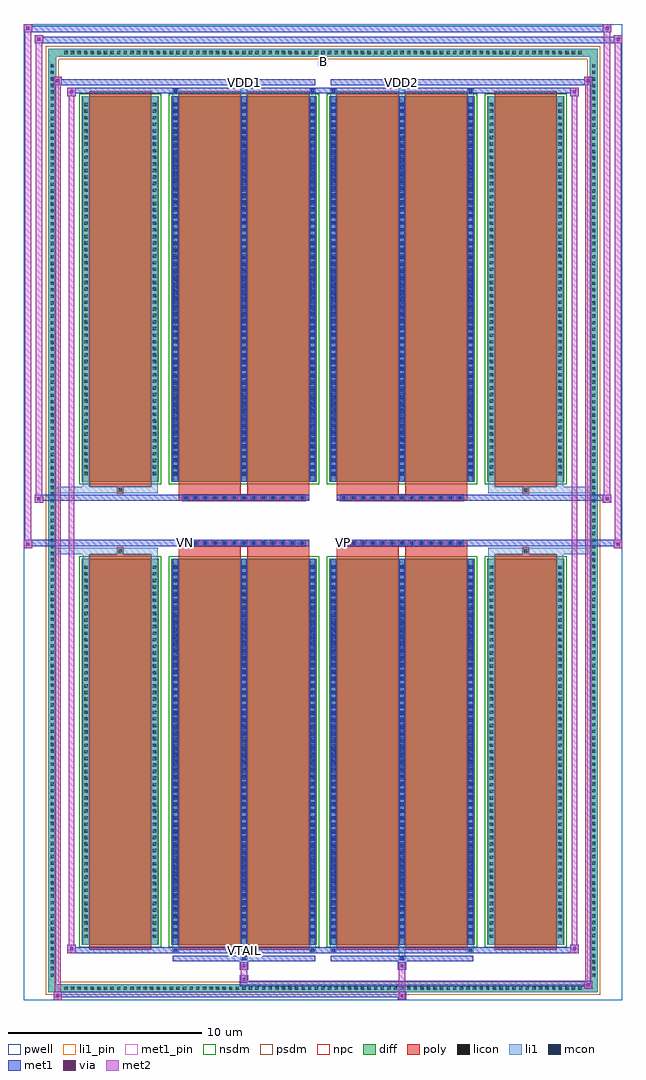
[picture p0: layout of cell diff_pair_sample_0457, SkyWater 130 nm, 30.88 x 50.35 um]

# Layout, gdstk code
import gdstk
lib = gdstk.Library(unit=1e-6, precision=5e-09)
def R(c, l, rs):  # rectangles x0, y0, x1, y1
    for r in rs: c.add(gdstk.rectangle(r[:2], r[2:], *l))
def A(c, l, x, y, w, h, nx, ny, dx, dy):  # array of equal rectangles
    R(c, l, [(x+i*dx, y+j*dy, x+i*dx+w, y+j*dy+h) for i in range(nx) for j in range(ny)])
def P(c, l, *ps):  # polygons
    for p in ps: c.add(gdstk.Polygon(p, *l))
pwell = (64, 44)
diff = (65, 20)
poly = (66, 20)
licon = (66, 44)
li1_pin = (67, 16)
li1 = (67, 20)
mcon = (67, 44)
met1_pin = (68, 16)
met1 = (68, 20)
via = (68, 44)
met2 = (69, 20)
nsdm = (93, 44)
psdm = (94, 20)
npc = (95, 20)

diff_pair_sample_0457 = lib.new_cell('diff_pair_sample_0457')
R(diff_pair_sample_0457, pwell, [(-15.44,-24.74,15.44,25.61), (-12.76,-22.93,-0.01,-0.805), (0.01,-22.93,12.76,-0.805), (-12.76,0.805,-0.01,22.93), (0.01,0.805,12.76,22.93)])
A(diff_pair_sample_0457, diff, -13.465, -24.34, 0.41, 0.41, 79, 2, 0.34, 48.27)
A(diff_pair_sample_0457, diff, -14.17, -23.665, 0.41, 0.41, 1, 139, 0, 0.34)
A(diff_pair_sample_0457, diff, 13.76, -23.665, 0.41, 0.41, 1, 139, 0, 0.34)
R(diff_pair_sample_0457, diff, [(-13.465,-24.34,13.465,-23.93), (-14.17,-23.665,-13.76,23.665), (13.76,-23.665,14.17,23.665), (-12.45,-21.885,-8.47,-1.985), (-7.83,-21.885,-0.32,-1.985), (0.32,-21.885,7.83,-1.985), (8.47,-21.885,12.45,-1.985), (-12.45,1.985,-8.47,21.885), (-7.83,1.985,-0.32,21.885), (0.32,1.985,7.83,21.885), (8.47,1.985,12.45,21.885), (-13.465,23.93,13.465,24.34)])
P(diff_pair_sample_0457, diff, [(14.17,24.34),(-14.17,24.34),(-14.17,-23.93),(-13.76,-23.93),(-13.76,23.93),(13.76,23.93),(13.76,-23.93),(-13.76,-23.93),(-14.17,-23.93),(-14.17,-24.34),(14.17,-24.34)])
A(diff_pair_sample_0457, poly, -7.24, -1.335, 0.33, 0.33, 13, 2, 0.5, 2.34)
A(diff_pair_sample_0457, poly, 0.91, -1.335, 0.33, 0.33, 13, 2, 0.5, 2.34)
R(diff_pair_sample_0457, poly, [(-12.06,-22.135,-8.86,-1.735), (-7.44,-22.135,-4.24,-1.735), (-3.91,-22.135,-0.71,-1.735), (0.71,-22.135,3.91,-1.735), (4.24,-22.135,7.44,-1.735), (8.86,-22.135,12.06,-1.735), (-10.625,-1.735,-10.295,-1.405), (-10.625,-1.735,-10.295,-1.405), (-7.44,-1.735,-4.24,-1.335), (-3.91,-1.735,-0.71,-1.335), (0.71,-1.735,3.91,-1.335), (4.24,-1.735,7.44,-1.335), (10.295,-1.735,10.625,-1.405), (10.295,-1.735,10.625,-1.405), (-7.44,-1.335,-0.71,-1.005), (0.71,-1.335,7.44,-1.005), (-7.44,1.005,-0.71,1.335), (0.71,1.005,7.44,1.335), (-7.44,1.335,-4.24,1.735), (-3.91,1.335,-0.71,1.735), (0.71,1.335,3.91,1.735), (4.24,1.335,7.44,1.735), (-10.625,1.405,-10.295,1.735), (-10.625,1.405,-10.295,1.735), (10.295,1.405,10.625,1.735), (10.295,1.405,10.625,1.735), (-12.06,1.735,-8.86,22.135), (-7.44,1.735,-4.24,22.135), (-3.91,1.735,-0.71,22.135), (0.71,1.735,3.91,22.135), (4.24,1.735,7.44,22.135), (8.86,1.735,12.06,22.135)])
A(diff_pair_sample_0457, licon, -13.345, -24.22, 0.17, 0.17, 79, 2, 0.34, 48.27)
A(diff_pair_sample_0457, licon, -14.05, -23.545, 0.17, 0.17, 1, 139, 0, 0.34)
A(diff_pair_sample_0457, licon, 13.88, -23.545, 0.17, 0.17, 1, 139, 0, 0.34)
A(diff_pair_sample_0457, licon, -12.31, -21.54, 0.17, 0.17, 1, 57, 0, 0.34)
A(diff_pair_sample_0457, licon, -8.78, -21.54, 0.17, 0.17, 1, 57, 0, 0.34)
A(diff_pair_sample_0457, licon, -7.69, -21.54, 0.17, 0.17, 3, 57, 3.53, 0.34)
A(diff_pair_sample_0457, licon, 0.46, -21.54, 0.17, 0.17, 3, 57, 3.53, 0.34)
A(diff_pair_sample_0457, licon, 8.61, -21.54, 0.17, 0.17, 1, 57, 0, 0.34)
A(diff_pair_sample_0457, licon, 12.14, -21.54, 0.17, 0.17, 1, 57, 0, 0.34)
A(diff_pair_sample_0457, licon, -7.16, -1.255, 0.17, 0.17, 13, 2, 0.5, 2.34)
A(diff_pair_sample_0457, licon, 0.99, -1.255, 0.17, 0.17, 13, 2, 0.5, 2.34)
A(diff_pair_sample_0457, licon, -12.31, 2.33, 0.17, 0.17, 1, 57, 0, 0.34)
A(diff_pair_sample_0457, licon, -8.78, 2.33, 0.17, 0.17, 1, 57, 0, 0.34)
A(diff_pair_sample_0457, licon, -7.69, 2.33, 0.17, 0.17, 3, 57, 3.53, 0.34)
A(diff_pair_sample_0457, licon, 0.46, 2.33, 0.17, 0.17, 3, 57, 3.53, 0.34)
A(diff_pair_sample_0457, licon, 8.61, 2.33, 0.17, 0.17, 1, 57, 0, 0.34)
A(diff_pair_sample_0457, licon, 12.14, 2.33, 0.17, 0.17, 1, 57, 0, 0.34)
R(diff_pair_sample_0457, licon, [(-10.545,-1.655,-10.375,-1.485), (10.375,-1.655,10.545,-1.485), (-10.545,1.485,-10.375,1.655), (10.375,1.485,10.545,1.655)])
R(diff_pair_sample_0457, li1_pin, [(-0.25,23.43,0.25,23.93)])
A(diff_pair_sample_0457, li1, -13.425, -24.3, 0.33, 0.33, 79, 2, 0.34, 48.27)
A(diff_pair_sample_0457, li1, -14.13, -23.625, 0.33, 0.33, 1, 139, 0, 0.34)
A(diff_pair_sample_0457, li1, 13.8, -23.625, 0.33, 0.33, 1, 139, 0, 0.34)
A(diff_pair_sample_0457, li1, -7.77, -21.885, 0.33, 19.9, 3, 2, 3.53, 23.87)
A(diff_pair_sample_0457, li1, 0.38, -21.885, 0.33, 19.9, 3, 2, 3.53, 23.87)
A(diff_pair_sample_0457, li1, -12.39, -21.62, 0.33, 0.33, 1, 57, 0, 0.34)
A(diff_pair_sample_0457, li1, -8.86, -21.62, 0.33, 0.33, 1, 57, 0, 0.34)
A(diff_pair_sample_0457, li1, -7.77, -21.62, 0.33, 0.33, 3, 57, 3.53, 0.34)
A(diff_pair_sample_0457, li1, 0.38, -21.62, 0.33, 0.33, 3, 57, 3.53, 0.34)
A(diff_pair_sample_0457, li1, 8.53, -21.62, 0.33, 0.33, 1, 57, 0, 0.34)
A(diff_pair_sample_0457, li1, 12.06, -21.62, 0.33, 0.33, 1, 57, 0, 0.34)
A(diff_pair_sample_0457, li1, -7.69, -21.56, 0.17, 0.17, 3, 54, 3.53, 0.36)
A(diff_pair_sample_0457, li1, -7.69, -21.56, 0.17, 19.25, 3, 2, 3.53, 23.87)
A(diff_pair_sample_0457, li1, 0.46, -21.56, 0.17, 0.17, 3, 54, 3.53, 0.36)
A(diff_pair_sample_0457, li1, 0.46, -21.56, 0.17, 19.25, 3, 2, 3.53, 23.87)
A(diff_pair_sample_0457, li1, -7.24, -1.335, 0.33, 0.33, 13, 2, 0.5, 2.34)
A(diff_pair_sample_0457, li1, 0.91, -1.335, 0.33, 0.33, 13, 2, 0.5, 2.34)
A(diff_pair_sample_0457, li1, -12.39, 2.25, 0.33, 0.33, 1, 57, 0, 0.34)
A(diff_pair_sample_0457, li1, -8.86, 2.25, 0.33, 0.33, 1, 57, 0, 0.34)
A(diff_pair_sample_0457, li1, -7.77, 2.25, 0.33, 0.33, 3, 57, 3.53, 0.34)
A(diff_pair_sample_0457, li1, 0.38, 2.25, 0.33, 0.33, 3, 57, 3.53, 0.34)
A(diff_pair_sample_0457, li1, 8.53, 2.25, 0.33, 0.33, 1, 57, 0, 0.34)
A(diff_pair_sample_0457, li1, 12.06, 2.25, 0.33, 0.33, 1, 57, 0, 0.34)
A(diff_pair_sample_0457, li1, -7.69, 2.31, 0.17, 0.17, 3, 54, 3.53, 0.36)
A(diff_pair_sample_0457, li1, 0.46, 2.31, 0.17, 0.17, 3, 54, 3.53, 0.36)
R(diff_pair_sample_0457, li1, [(-14.17,-24.34,-13.76,-23.93), (-14.17,-24.34,-13.76,-23.93), (-13.76,-24.34,13.76,-23.93), (13.76,-24.34,14.17,-23.93), (13.76,-24.34,14.17,-23.93), (-14.17,-23.93,-13.76,23.93), (13.76,-23.93,14.17,23.93), (-4.24,-22.69,-3.91,-21.885), (-4.16,-22.69,-3.99,-22.52), (3.91,-22.69,4.24,-21.885), (3.99,-22.69,4.16,-22.52), (-7.77,-22.26,-7.44,-21.885), (-7.69,-22.26,-7.52,-22.09), (-0.71,-22.26,-0.38,-21.885), (-0.63,-22.26,-0.46,-22.09), (0.38,-22.26,0.71,-21.885), (0.46,-22.26,0.63,-22.09), (7.44,-22.26,7.77,-21.885), (7.52,-22.26,7.69,-22.09), (-12.39,-21.885,-12.06,-1.985), (-8.86,-21.885,-8.53,-1.985), (8.53,-21.885,8.86,-1.985), (12.06,-21.885,12.39,-1.985), (-12.39,-1.985,-12.06,-1.405), (-8.86,-1.985,-8.53,-1.405), (8.53,-1.985,8.86,-1.405), (12.06,-1.985,12.39,-1.405), (-14.17,-1.735,-10.625,-1.405), (-12.39,-1.735,-10.625,-1.405), (-10.625,-1.735,-10.295,-1.405), (-10.295,-1.735,-8.53,-1.405), (8.53,-1.735,10.295,-1.405), (10.295,-1.735,10.625,-1.405), (10.295,-1.735,14.17,-1.405), (10.625,-1.735,12.39,-1.405), (-14.17,1.405,-10.625,1.735), (-12.39,1.405,-10.625,1.735), (-12.39,1.405,-12.06,1.985), (-10.625,1.405,-10.295,1.735), (-10.295,1.405,-8.53,1.735), (-8.86,1.405,-8.53,1.985), (8.53,1.405,10.295,1.735), (8.53,1.405,8.86,1.985), (10.295,1.405,10.625,1.735), (10.295,1.405,14.17,1.735), (10.625,1.405,12.39,1.735), (12.06,1.405,12.39,1.985), (-12.39,1.985,-12.06,21.885), (-8.86,1.985,-8.53,21.885), (8.53,1.985,8.86,21.885), (12.06,1.985,12.39,21.885), (-7.77,21.885,-7.44,22.26), (-4.24,21.885,-3.91,22.69), (-0.71,21.885,-0.38,22.26), (0.38,21.885,0.71,22.26), (3.91,21.885,4.24,22.69), (7.44,21.885,7.77,22.26), (-7.69,22.09,-7.52,22.26), (-0.63,22.09,-0.46,22.26), (0.46,22.09,0.63,22.26), (7.52,22.09,7.69,22.26), (-4.16,22.52,-3.99,22.69), (3.99,22.52,4.16,22.69), (-14.17,23.93,-13.76,24.34), (-14.17,23.93,-13.76,24.34), (-13.76,23.93,13.76,24.34), (13.76,23.93,14.17,24.34), (13.76,23.93,14.17,24.34)])
A(diff_pair_sample_0457, mcon, -7.69, -21.56, 0.17, 0.17, 3, 54, 3.53, 0.36)
A(diff_pair_sample_0457, mcon, 0.46, -21.56, 0.17, 0.17, 3, 54, 3.53, 0.36)
A(diff_pair_sample_0457, mcon, -7.16, -1.255, 0.17, 0.17, 13, 2, 0.5, 2.34)
A(diff_pair_sample_0457, mcon, 0.99, -1.255, 0.17, 0.17, 13, 2, 0.5, 2.34)
A(diff_pair_sample_0457, mcon, -7.69, 2.31, 0.17, 0.17, 3, 54, 3.53, 0.36)
A(diff_pair_sample_0457, mcon, 0.46, 2.31, 0.17, 0.17, 3, 54, 3.53, 0.36)
R(diff_pair_sample_0457, mcon, [(-4.16,-22.69,-3.99,-22.52), (3.99,-22.69,4.16,-22.52), (-7.69,-22.26,-7.52,-22.09), (-0.63,-22.26,-0.46,-22.09), (0.46,-22.26,0.63,-22.09), (7.52,-22.26,7.69,-22.09), (-7.69,22.09,-7.52,22.26), (-0.63,22.09,-0.46,22.26), (0.46,22.09,0.63,22.26), (7.52,22.09,7.69,22.26), (-4.16,22.52,-3.99,22.69), (3.99,22.52,4.16,22.69)])
R(diff_pair_sample_0457, met1_pin, [(-4.21,-22.3,-3.94,-22.03), (-7.21,-1.295,-6.94,-1.025), (0.94,-1.295,1.21,-1.025), (-4.21,22.48,-3.94,22.75), (3.94,22.48,4.21,22.75)])
A(diff_pair_sample_0457, met1, -7.75, -21.885, 0.29, 19.9, 3, 2, 3.53, 23.87)
A(diff_pair_sample_0457, met1, 0.4, -21.885, 0.29, 19.9, 3, 2, 3.53, 23.87)
A(diff_pair_sample_0457, met1, -7.75, -21.62, 0.29, 0.29, 3, 54, 3.53, 0.36)
A(diff_pair_sample_0457, met1, 0.4, -21.62, 0.29, 0.29, 3, 54, 3.53, 0.36)
A(diff_pair_sample_0457, met1, -7.22, -1.315, 0.29, 0.29, 13, 2, 0.5, 2.34)
A(diff_pair_sample_0457, met1, 0.93, -1.315, 0.29, 0.29, 13, 2, 0.5, 2.34)
A(diff_pair_sample_0457, met1, -7.75, 2.25, 0.29, 0.29, 3, 54, 3.53, 0.36)
A(diff_pair_sample_0457, met1, 0.4, 2.25, 0.29, 0.29, 3, 54, 3.53, 0.36)
R(diff_pair_sample_0457, met1, [(-13.9,-24.74,-13.47,-24.31), (3.86,-24.74,4.29,-24.31), (-13.9,-24.6,4.29,-24.31), (13.47,-24.17,13.9,-23.74), (-4.29,-24.03,13.9,-23.74), (-4.29,-23.89,-3.86,-23.46), (-4.29,-23.18,-3.86,-22.75), (3.86,-23.18,4.29,-22.75), (-7.75,-22.75,-0.4,-22.46), (-4.22,-22.75,-3.93,-22.46), (0.4,-22.75,7.75,-22.46), (3.93,-22.75,4.22,-22.46), (-13.19,-22.32,-12.76,-21.89), (-13.19,-22.32,-7.75,-22.03), (-7.75,-22.32,-7.46,-22.03), (-7.75,-22.32,-0.4,-22.03), (-0.69,-22.32,-0.4,-22.03), (-0.4,-22.32,0.4,-22.03), (0.4,-22.32,0.69,-22.03), (0.4,-22.32,7.75,-22.03), (7.46,-22.32,7.75,-22.03), (7.75,-22.32,13.19,-22.03), (12.76,-22.32,13.19,-21.89), (-15.44,-1.435,-15.01,-1.005), (15.01,-1.435,15.44,-1.005), (-15.44,-1.335,-0.71,-1.005), (-7.44,-1.335,-0.71,-1.005), (0.71,-1.335,7.44,-1.005), (0.71,-1.335,15.44,-1.005), (-14.87,0.905,-14.44,1.335), (14.44,0.905,14.87,1.335), (-14.87,1.005,-7.44,1.335), (-7.44,1.005,-0.71,1.335), (0.71,1.005,7.44,1.335), (7.44,1.005,14.87,1.335), (-13.19,21.89,-12.76,22.32), (12.76,21.89,13.19,22.32), (-13.19,22.03,-7.75,22.32), (-7.75,22.03,-7.46,22.32), (-7.75,22.03,-0.4,22.32), (-0.69,22.03,-0.4,22.32), (-0.4,22.03,0.4,22.32), (0.4,22.03,0.69,22.32), (0.4,22.03,7.75,22.32), (7.46,22.03,7.75,22.32), (7.75,22.03,13.19,22.32), (-13.9,22.46,-13.47,22.89), (-13.9,22.46,-7.75,22.75), (-7.75,22.46,-0.4,22.75), (-4.22,22.46,-3.93,22.75), (0.4,22.46,7.75,22.75), (3.93,22.46,4.22,22.75), (7.75,22.46,13.9,22.75), (13.47,22.46,13.9,22.89), (-14.87,24.61,-14.44,25.04), (-14.87,24.61,-12.76,24.94), (-12.76,24.61,12.76,24.94), (12.76,24.61,15.44,24.94), (15.01,24.61,15.44,25.04), (-15.44,25.18,-15.01,25.61), (-15.44,25.18,-12.76,25.51), (-12.76,25.18,12.76,25.51), (12.76,25.18,14.87,25.51), (14.44,25.18,14.87,25.61)])
R(diff_pair_sample_0457, via, [(-13.76,-24.6,-13.61,-24.45), (4,-24.6,4.15,-24.45), (13.61,-24.03,13.76,-23.88), (-4.15,-23.75,-4,-23.6), (-4.15,-23.04,-4,-22.89), (4,-23.04,4.15,-22.89), (-13.05,-22.18,-12.9,-22.03), (12.9,-22.18,13.05,-22.03), (-15.3,-1.295,-15.15,-1.145), (15.15,-1.295,15.3,-1.145), (-14.73,1.045,-14.58,1.195), (14.58,1.045,14.73,1.195), (-13.05,22.03,-12.9,22.18), (12.9,22.03,13.05,22.18), (-13.76,22.6,-13.61,22.75), (13.61,22.6,13.76,22.75), (-14.73,24.75,-14.58,24.9), (15.15,24.75,15.3,24.9), (-15.3,25.32,-15.15,25.47), (14.58,25.32,14.73,25.47)])
R(diff_pair_sample_0457, met2, [(-13.9,-24.74,-13.47,-24.31), (-13.83,-24.74,-13.54,22.89), (-13.54,-24.74,-13.47,-24.31), (-13.85,-24.69,-13.52,-24.36), (3.91,-24.69,4.24,-24.36), (3.91,-24.36,4.24,-23.13), (13.47,-24.17,13.9,-23.74), (13.54,-24.17,13.83,22.89), (13.83,-24.17,13.9,-23.74), (13.52,-24.12,13.85,-23.79), (-4.24,-23.84,-3.91,-23.51), (-4.24,-23.51,-3.91,-23.13), (-4.24,-23.13,-3.91,-22.8), (3.91,-23.13,4.24,-22.8), (-13.19,-22.32,-12.76,-21.89), (-13.12,-22.32,-12.83,22.32), (-12.83,-22.32,-12.76,-21.89), (12.76,-22.32,13.19,-21.89), (12.83,-22.32,13.12,22.32), (13.12,-22.32,13.19,-21.89), (-13.14,-22.27,-12.81,-21.94), (12.81,-22.27,13.14,-21.94), (-15.44,-1.435,-15.01,-1.005), (-15.39,-1.435,-15.06,25.61), (-15.06,-1.435,-15.01,-1.005), (15.01,-1.435,15.44,-1.005), (15.06,-1.435,15.39,25.04), (15.39,-1.435,15.44,-1.005), (-15.39,-1.385,-15.06,-1.055), (15.06,-1.385,15.39,-1.055), (-14.87,0.905,-14.44,1.335), (-14.82,0.905,-14.49,25.04), (-14.49,0.905,-14.44,1.335), (14.44,0.905,14.87,1.335), (14.49,0.905,14.82,25.61), (14.82,0.905,14.87,1.335), (-14.82,0.955,-14.49,1.285), (14.49,0.955,14.82,1.285), (-13.19,21.89,-12.76,22.32), (-12.83,21.89,-12.76,22.32), (12.76,21.89,13.19,22.32), (13.12,21.89,13.19,22.32), (-13.14,21.94,-12.81,22.27), (12.81,21.94,13.14,22.27), (-13.9,22.46,-13.47,22.89), (-13.54,22.46,-13.47,22.89), (13.47,22.46,13.9,22.89), (13.83,22.46,13.9,22.89), (-13.85,22.51,-13.52,22.84), (13.52,22.51,13.85,22.84), (-14.87,24.61,-14.44,25.04), (-14.49,24.61,-14.44,25.04), (15.01,24.61,15.44,25.04), (15.39,24.61,15.44,25.04), (-14.82,24.66,-14.49,24.99), (15.06,24.66,15.39,24.99), (-15.44,25.18,-15.01,25.61), (-15.06,25.18,-15.01,25.61), (14.44,25.18,14.87,25.61), (14.82,25.18,14.87,25.61), (-15.39,25.23,-15.06,25.56), (14.49,25.23,14.82,25.56)])
R(diff_pair_sample_0457, nsdm, [(-12.58,-22.015,-8.34,-1.855), (-7.96,-22.015,-0.19,-1.855), (0.19,-22.015,7.96,-1.855), (8.34,-22.015,12.58,-1.855), (-12.58,1.855,-8.34,22.015), (-7.96,1.855,-0.19,22.015), (0.19,1.855,7.96,22.015), (8.34,1.855,12.58,22.015)])
P(diff_pair_sample_0457, psdm, [(14.3,24.47),(-14.3,24.47),(-14.3,-23.8),(-13.63,-23.8),(-13.63,23.8),(13.63,23.8),(13.63,-23.8),(-13.63,-23.8),(-14.3,-23.8),(-14.3,-24.47),(14.3,-24.47)])
A(diff_pair_sample_0457, npc, -7.26, -1.355, 0.37, 0.37, 13, 2, 0.5, 2.34)
A(diff_pair_sample_0457, npc, 0.89, -1.355, 0.37, 0.37, 13, 2, 0.5, 2.34)
R(diff_pair_sample_0457, npc, [(-10.645,-1.755,-10.275,-1.385), (10.275,-1.755,10.645,-1.385), (-7.26,-1.355,-6.39,-0.985), (-7.26,-1.355,-6.39,-0.985), (-6.76,-1.355,-5.89,-0.985), (-6.76,-1.355,-5.89,-0.985), (-6.26,-1.355,-5.39,-0.985), (-6.26,-1.355,-5.39,-0.985), (-5.76,-1.355,-4.89,-0.985), (-5.76,-1.355,-4.89,-0.985), (-5.26,-1.355,-4.39,-0.985), (-5.26,-1.355,-4.39,-0.985), (-4.76,-1.355,-3.89,-0.985), (-4.76,-1.355,-3.89,-0.985), (-4.26,-1.355,-3.39,-0.985), (-4.26,-1.355,-3.39,-0.985), (-3.76,-1.355,-2.89,-0.985), (-3.76,-1.355,-2.89,-0.985), (-3.26,-1.355,-2.39,-0.985), (-3.26,-1.355,-2.39,-0.985), (-2.76,-1.355,-1.89,-0.985), (-2.76,-1.355,-1.89,-0.985), (-2.26,-1.355,-1.39,-0.985), (-2.26,-1.355,-1.39,-0.985), (-1.76,-1.355,-0.89,-0.985), (-1.76,-1.355,-0.89,-0.985), (0.89,-1.355,1.76,-0.985), (0.89,-1.355,1.76,-0.985), (1.39,-1.355,2.26,-0.985), (1.39,-1.355,2.26,-0.985), (1.89,-1.355,2.76,-0.985), (1.89,-1.355,2.76,-0.985), (2.39,-1.355,3.26,-0.985), (2.39,-1.355,3.26,-0.985), (2.89,-1.355,3.76,-0.985), (2.89,-1.355,3.76,-0.985), (3.39,-1.355,4.26,-0.985), (3.39,-1.355,4.26,-0.985), (3.89,-1.355,4.76,-0.985), (3.89,-1.355,4.76,-0.985), (4.39,-1.355,5.26,-0.985), (4.39,-1.355,5.26,-0.985), (4.89,-1.355,5.76,-0.985), (4.89,-1.355,5.76,-0.985), (5.39,-1.355,6.26,-0.985), (5.39,-1.355,6.26,-0.985), (5.89,-1.355,6.76,-0.985), (5.89,-1.355,6.76,-0.985), (6.39,-1.355,7.26,-0.985), (6.39,-1.355,7.26,-0.985), (-7.26,0.985,-6.39,1.355), (-7.26,0.985,-6.39,1.355), (-6.76,0.985,-5.89,1.355), (-6.76,0.985,-5.89,1.355), (-6.26,0.985,-5.39,1.355), (-6.26,0.985,-5.39,1.355), (-5.76,0.985,-4.89,1.355), (-5.76,0.985,-4.89,1.355), (-5.26,0.985,-4.39,1.355), (-5.26,0.985,-4.39,1.355), (-4.76,0.985,-3.89,1.355), (-4.76,0.985,-3.89,1.355), (-4.26,0.985,-3.39,1.355), (-4.26,0.985,-3.39,1.355), (-3.76,0.985,-2.89,1.355), (-3.76,0.985,-2.89,1.355), (-3.26,0.985,-2.39,1.355), (-3.26,0.985,-2.39,1.355), (-2.76,0.985,-1.89,1.355), (-2.76,0.985,-1.89,1.355), (-2.26,0.985,-1.39,1.355), (-2.26,0.985,-1.39,1.355), (-1.76,0.985,-0.89,1.355), (-1.76,0.985,-0.89,1.355), (0.89,0.985,1.76,1.355), (0.89,0.985,1.76,1.355), (1.39,0.985,2.26,1.355), (1.39,0.985,2.26,1.355), (1.89,0.985,2.76,1.355), (1.89,0.985,2.76,1.355), (2.39,0.985,3.26,1.355), (2.39,0.985,3.26,1.355), (2.89,0.985,3.76,1.355), (2.89,0.985,3.76,1.355), (3.39,0.985,4.26,1.355), (3.39,0.985,4.26,1.355), (3.89,0.985,4.76,1.355), (3.89,0.985,4.76,1.355), (4.39,0.985,5.26,1.355), (4.39,0.985,5.26,1.355), (4.89,0.985,5.76,1.355), (4.89,0.985,5.76,1.355), (5.39,0.985,6.26,1.355), (5.39,0.985,6.26,1.355), (5.89,0.985,6.76,1.355), (5.89,0.985,6.76,1.355), (6.39,0.985,7.26,1.355), (6.39,0.985,7.26,1.355), (-10.645,1.385,-10.275,1.755), (10.275,1.385,10.645,1.755)])
diff_pair_sample_0457.add(gdstk.Label('VTAIL', (-4.075,-22.165), layer=68, texttype=5))
diff_pair_sample_0457.add(gdstk.Label('VN', (-7.075,-1.16), layer=68, texttype=5))
diff_pair_sample_0457.add(gdstk.Label('VP', (1.075,-1.16), layer=68, texttype=5))
diff_pair_sample_0457.add(gdstk.Label('B', (0,23.68), layer=67, texttype=5))
diff_pair_sample_0457.add(gdstk.Label('VDD2', (4.075,22.615), layer=68, texttype=5))
diff_pair_sample_0457.add(gdstk.Label('VDD1', (-4.075,22.615), layer=68, texttype=5))

lib.write_gds('diff_pair_sample_0457.gds')
